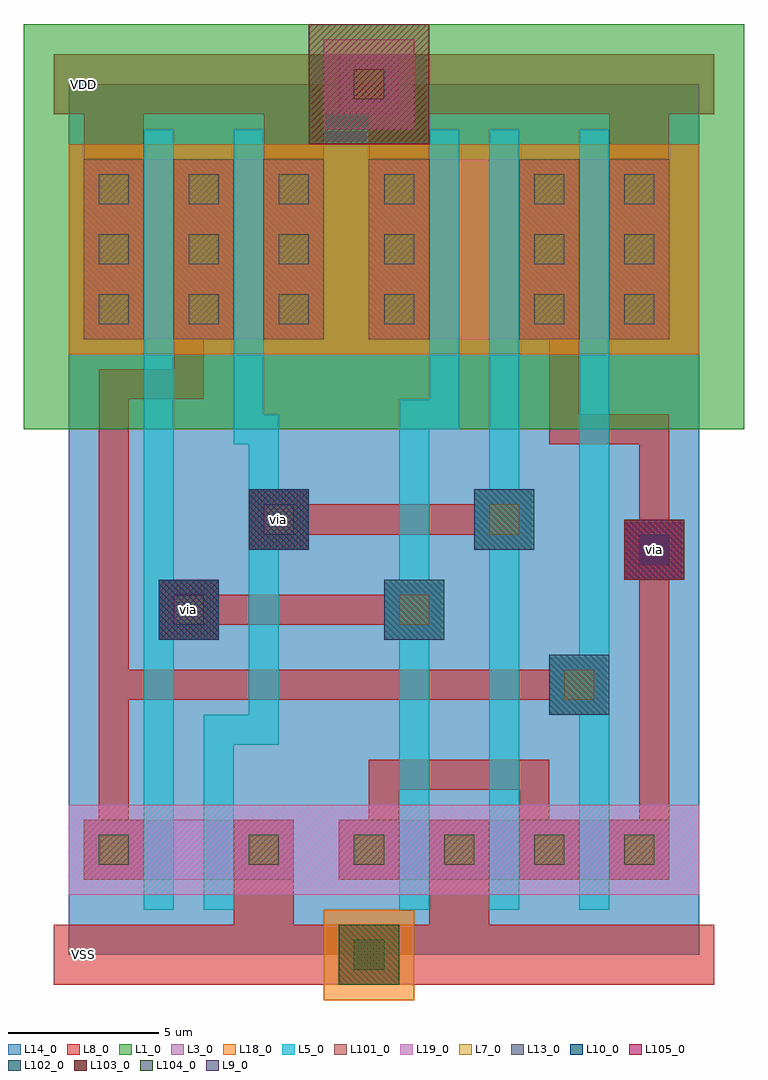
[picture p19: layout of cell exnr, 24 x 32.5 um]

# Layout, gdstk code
import gdstk
lib = gdstk.Library(unit=1e-6, precision=1e-09)
def R(c, l, rs):  # rectangles x0, y0, x1, y1
    for r in rs: c.add(gdstk.rectangle(r[:2], r[2:], *l))
L1_0 = (1, 0)
L3_0 = (3, 0)
L5_0 = (5, 0)
L7_0 = (7, 0)
L8_0 = (8, 0)
L9_0 = (9, 0)
L10_0 = (10, 0)
L13_0 = (13, 0)
L14_0 = (14, 0)
L18_0 = (18, 0)
L19_0 = (19, 0)
L101_0 = (101, 0)
L102_0 = (102, 0)
L103_0 = (103, 0)
L104_0 = (104, 0)
L105_0 = (105, 0)

pcont = lib.new_cell('pcont')
R(pcont, L5_0, [(-1,-1,1,1)])
R(pcont, L7_0, [(-0.5,-0.5,0.5,0.5)])
R(pcont, L8_0, [(-1,-1,1,1)])
R(pcont, L102_0, [(-1,-1,1,1)])
pcont.add(gdstk.Label('pcont', (0,0), layer=13, texttype=0))

dcont = lib.new_cell('dcont')
R(dcont, L3_0, [(-1,-1,1,1)])
R(dcont, L7_0, [(-0.5,-0.5,0.5,0.5)])
R(dcont, L8_0, [(-1,-1,1,1)])
R(dcont, L13_0, [(-0.5,-0.5,0.5,0.5)])
R(dcont, L101_0, [(-1,-1,1,1)])
dcont.add(gdstk.Label('dcont', (0,0), layer=13, texttype=0))

via = lib.new_cell('Via')
R(via, L8_0, [(-1,-1,1,1)])
R(via, L9_0, [(-0.5,-0.5,0.5,0.5)])
R(via, L10_0, [(-1,-1,1,1)])
R(via, L13_0, [(-0.5,-0.5,0.5,0.5)])
R(via, L105_0, [(-1,-1,1,1)])
via.add(gdstk.Label('via', (0,0), layer=13, texttype=0))

nsubcont = lib.new_cell('nsubcont')
R(nsubcont, L1_0, [(-2,-2,2,2)])
R(nsubcont, L19_0, [(-1.5,-1.5,1.5,1.5)])
R(nsubcont, L103_0, [(-2,-2,2,2)])
nsubcont.add(gdstk.Reference(dcont, (0,0)))
nsubcont.add(gdstk.Label('NScont', (0,0), layer=13, texttype=0))

psubcont = lib.new_cell('psubcont')
R(psubcont, L18_0, [(-1.5,-1.5,1.5,1.5)])
R(psubcont, L104_0, [(-1,-1,1,1)])
psubcont.add(gdstk.Reference(dcont, (0,0)))
psubcont.add(gdstk.Label('PScon', (0,0), layer=13, texttype=0))

exnr = lib.new_cell('exnr')
R(exnr, L1_0, [(-1.5,17.5,22.5,31)])
R(exnr, L3_0, [(0.5,2.5,7.5,4.5), (9,2.5,20,4.5), (0.5,20.5,8.5,26.5), (10,20.5,20,26.5)])
R(exnr, L8_0, [(-0.5,-1,21.5,1), (3,10.5,5,12.5), (18.5,12.5,20.5,14.5), (6,13.5,8,15.5), (-0.5,28,21.5,30)])
R(exnr, L10_0, [(3,10.5,5,12.5), (18.5,12.5,20.5,14.5), (6,13.5,8,15.5)])
R(exnr, L14_0, [(0,0,21,29)])
R(exnr, L18_0, [(0,20,21,27)])
R(exnr, L19_0, [(0,2,21,5)])
R(exnr, L105_0, [(3,10.5,5,12.5), (18.5,12.5,20.5,14.5), (6,13.5,8,15.5)])
exnr.add(gdstk.FlexPath([(19,21.6),(19,28.5)], 2, ends="extended", simple_path=True, layer=8, datatype=0))  # L8_0
exnr.add(gdstk.FlexPath([(16.5,21.4),(16.5,17.5),(19.5,17.5),(19.5,3.5)], 1, ends="extended", simple_path=True, layer=8, datatype=0))  # L8_0
exnr.add(gdstk.FlexPath([(16,25.5),(16,21.5)], 1.4, ends="extended", simple_path=True, layer=8, datatype=0))  # L8_0
exnr.add(gdstk.FlexPath([(15.5,3.5),(15.5,6),(10.5,6),(10.5,3.5)], 1, ends="extended", simple_path=True, layer=8, datatype=0))  # L8_0
exnr.add(gdstk.FlexPath([(13,1),(13,3.5)], 2, ends="extended", simple_path=True, layer=8, datatype=0))  # L8_0
exnr.add(gdstk.FlexPath([(11,21.5),(11,28.5)], 2, ends="extended", simple_path=True, layer=8, datatype=0))  # L8_0
exnr.add(gdstk.FlexPath([(7.1,14.5),(14.5,14.5)], 1, ends="extended", simple_path=True, layer=8, datatype=0))  # L8_0
exnr.add(gdstk.FlexPath([(1.5,9),(16.8,9)], 1, ends="extended", simple_path=True, layer=8, datatype=0))  # L8_0
exnr.add(gdstk.FlexPath([(7.5,21.8),(7.5,28.5)], 2, ends="extended", simple_path=True, layer=8, datatype=0))  # L8_0
exnr.add(gdstk.FlexPath([(4,11.5),(11.4,11.5)], 1, ends="extended", simple_path=True, layer=8, datatype=0))  # L8_0
exnr.add(gdstk.FlexPath([(6.5,1),(6.5,3.5)], 2, ends="extended", simple_path=True, layer=8, datatype=0))  # L8_0
exnr.add(gdstk.FlexPath([(4,25.5),(4,19),(1.5,19),(1.5,3.5)], 1, ends="extended", simple_path=True, layer=8, datatype=0))  # L8_0
exnr.add(gdstk.FlexPath([(1.5,21.5),(1.5,28.5)], 2, ends="extended", simple_path=True, layer=8, datatype=0))  # L8_0
exnr.add(gdstk.FlexPath([(12.5,27),(12.5,18),(11.5,18),(11.5,2)], 1, ends="extended", simple_path=True, layer=5, datatype=0))  # L5_0
exnr.add(gdstk.FlexPath([(17.5,27),(17.5,2)], 1, ends="extended", simple_path=True, layer=5, datatype=0))  # L5_0
exnr.add(gdstk.FlexPath([(14.5,27),(14.5,2)], 1, ends="extended", simple_path=True, layer=5, datatype=0))  # L5_0
exnr.add(gdstk.FlexPath([(6,27),(6,17.5),(6.5,17.5),(6.5,7.5),(5,7.5),(5,2)], 1, ends="extended", simple_path=True, layer=5, datatype=0))  # L5_0
exnr.add(gdstk.FlexPath([(3,27),(3,2)], 1, ends="extended", simple_path=True, layer=5, datatype=0))  # L5_0
exnr.add(gdstk.Reference(pcont, (11.5,11.5)))
exnr.add(gdstk.Reference(dcont, (16,23.5)))
exnr.add(gdstk.Reference(via, (7,14.5)))
exnr.add(gdstk.Reference(via, (19.5,13.5)))
exnr.add(gdstk.Reference(dcont, (19,21.5)))
exnr.add(gdstk.Reference(dcont, (19,25.5)))
exnr.add(gdstk.Reference(dcont, (4.5,21.5)))
exnr.add(gdstk.Reference(dcont, (11,23.5)))
exnr.add(gdstk.Reference(dcont, (7.5,25.5)))
exnr.add(gdstk.Reference(dcont, (16,25.5)))
exnr.add(gdstk.Reference(dcont, (7.5,21.5)))
exnr.add(gdstk.Reference(dcont, (1.5,21.5)))
exnr.add(gdstk.Reference(dcont, (4.5,25.5)))
exnr.add(gdstk.Reference(dcont, (1.5,3.5)))
exnr.add(gdstk.Reference(dcont, (1.5,25.5)))
exnr.add(gdstk.Reference(pcont, (17,9)))
exnr.add(gdstk.Reference(dcont, (19,23.5)))
exnr.add(gdstk.Reference(dcont, (16,3.5)))
exnr.add(gdstk.Reference(via, (4,11.5)))
exnr.add(gdstk.Reference(nsubcont, (10,29)))
exnr.add(gdstk.Reference(dcont, (10,3.5)))
exnr.add(gdstk.Reference(dcont, (16,21.5)))
exnr.add(gdstk.Reference(pcont, (4,11.5)))
exnr.add(gdstk.Reference(dcont, (6.5,3.5)))
exnr.add(gdstk.Reference(dcont, (11,21.5)))
exnr.add(gdstk.Reference(dcont, (4.5,23.5)))
exnr.add(gdstk.Reference(dcont, (19,3.5)))
exnr.add(gdstk.Reference(dcont, (7.5,23.5)))
exnr.add(gdstk.Reference(dcont, (11,25.5)))
exnr.add(gdstk.Reference(pcont, (14.5,14.5)))
exnr.add(gdstk.Reference(dcont, (13,3.5)))
exnr.add(gdstk.Reference(pcont, (7,14.5)))
exnr.add(gdstk.Reference(psubcont, (10,0)))
exnr.add(gdstk.Reference(dcont, (1.5,23.5)))
exnr.add(gdstk.Label('VDD', (0.5,29), layer=8, texttype=0))
exnr.add(gdstk.Label('VSS', (0.5,0), layer=8, texttype=0))
exnr.add(gdstk.Label('via', (4,11.5), layer=13, texttype=0))
exnr.add(gdstk.Label('via', (7,14.5), layer=13, texttype=0))
exnr.add(gdstk.Label('via', (19.5,13.5), layer=13, texttype=0))
exnr.add(gdstk.Label('B', (4,11.5), layer=10, texttype=0))
exnr.add(gdstk.Label('A', (7,14.5), layer=10, texttype=0))
exnr.add(gdstk.Label('X', (19.5,13.5), layer=10, texttype=0))

lib.write_gds('exnr.gds')
